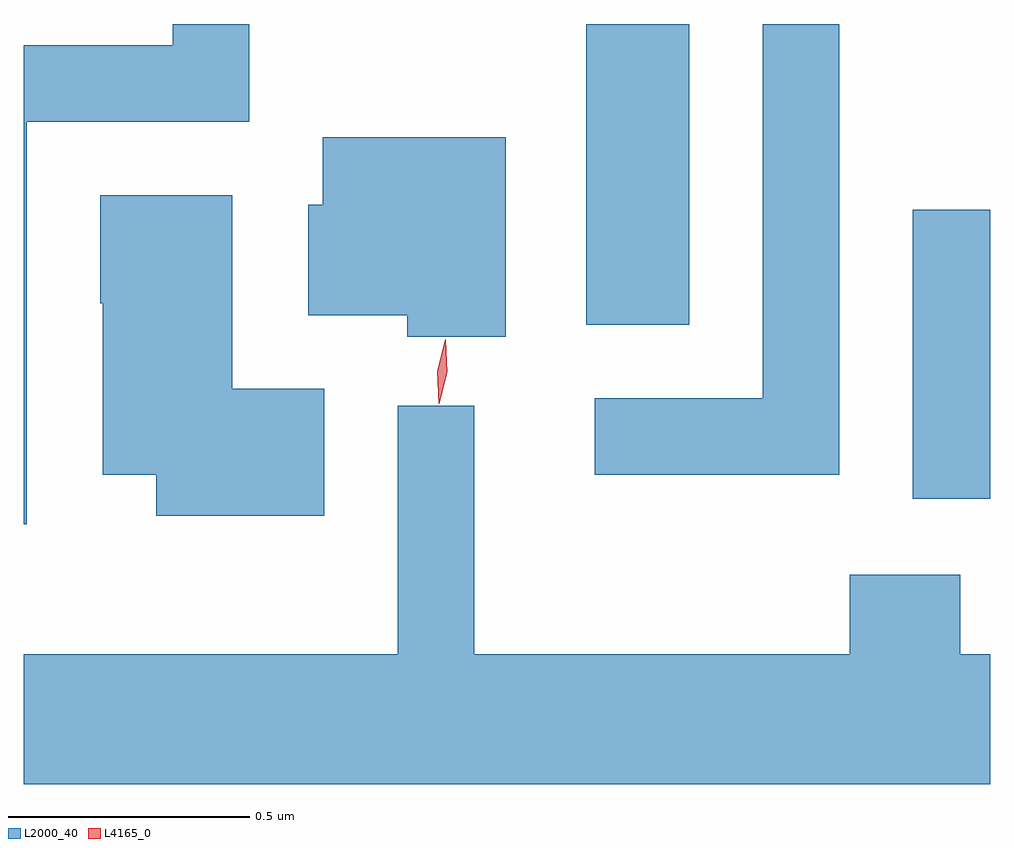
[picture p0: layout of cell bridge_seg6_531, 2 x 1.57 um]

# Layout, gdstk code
import gdstk
lib = gdstk.Library(unit=1e-6, precision=1e-09)
def R(c, l, rs):  # rectangles x0, y0, x1, y1
    for r in rs: c.add(gdstk.rectangle(r[:2], r[2:], *l))
def P(c, l, *ps):  # polygons
    for p in ps: c.add(gdstk.Polygon(p, *l))
L2000_40 = (2000, 40)
L4165_0 = (4165, 0)

bridge_seg6_531 = lib.new_cell('bridge_seg6_531')
R(bridge_seg6_531, L2000_40, [(992.971,1570.606,993.132,1571.204), (992.296,1570.966,992.509,1571.588)])
P(bridge_seg6_531, L2000_40, [(992.819,1571.588),(992.661,1571.588),(992.661,1570.814),(992.313,1570.814),(992.313,1570.656),(992.819,1570.656)],
  [(991.139,1571.386),(991.599,1571.386),(991.599,1571.588),(991.441,1571.588),(991.441,1571.544),(991.132,1571.544),(991.132,1570.553),(991.139,1570.553)],
  [(992.129,1571.354),(991.751,1571.354),(991.751,1571.214),(991.721,1571.214),(991.721,1570.986),(991.926,1570.986),(991.926,1570.941),(992.129,1570.941)],
  [(991.754,1570.834),(991.564,1570.834),(991.564,1571.234),(991.291,1571.234),(991.291,1571.01),(991.296,1571.01),(991.296,1570.656),(991.406,1570.656),(991.406,1570.571),(991.754,1570.571)],
  [(993.132,1570.284),(993.069,1570.284),(993.069,1570.449),(992.841,1570.449),(992.841,1570.284),(992.064,1570.284),(992.064,1570.798),(991.906,1570.798),(991.906,1570.284),(991.132,1570.284),(991.132,1570.016),(993.132,1570.016)])
P(bridge_seg6_531, L4165_0, [(991.991,1570.803),(991.991,1570.803),(991.988,1570.87),(992.004,1570.935),(992.004,1570.936),(992.005,1570.935),(992.008,1570.868),(991.992,1570.803)])

lib.write_gds('bridge_seg6_531.gds')
